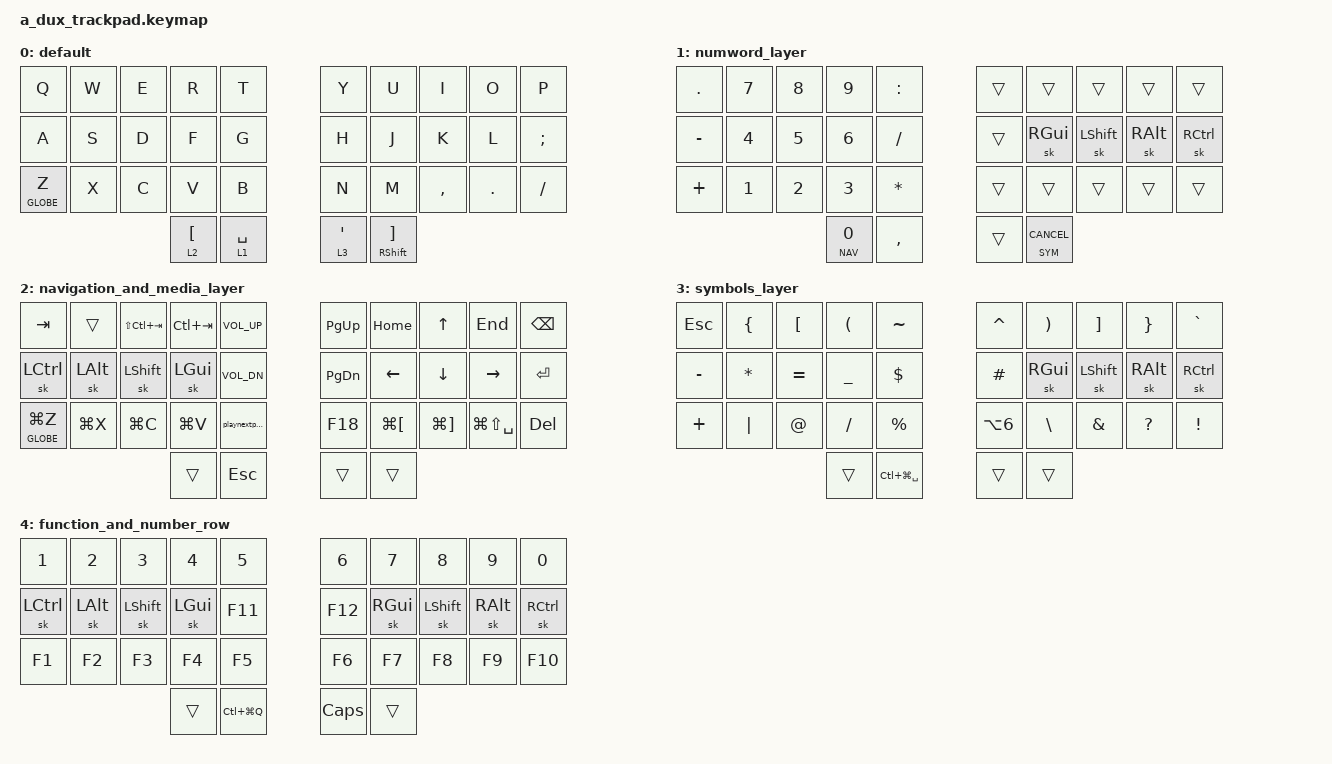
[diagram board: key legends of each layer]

#include <behaviors.dtsi>
#include <dt-bindings/zmk/bt.h>
#include <dt-bindings/zmk/keys.h>
#include <dt-bindings/zmk/mouse.h>
#include <dt-bindings/zmk/outputs.h>

#define DEF 0
#define NWD 1
#define NAV 2
#define SYM 3
#define FUN 4
#define MOU 5
#define AOE 6
#define ASG 7
#define ASB 8

/ {
    /* assign `input-listener` to all pointing devices */
    /* &glidepoint0 on central, &glidepoint1 on peripheral */

    tpad_central_listener {
        compatible = "zmk,input-behavior-listener";
        device = <&glidepoint1>;
        y-invert;
        scale-multiplier = <2>;
        

 

        // xy-swap;
        // x-invert;
    };

    tpad_peripheral_listener {
        compatible = "zmk,input-behavior-listener";
        device = <&glidepoint1>;
        layers = <DEF>;
        y-invert;
        scale-multiplier = <2>;

        /* NOTE: do NOT override event code here, */
        /*       let Cirque glidepoint reports click from taps */
        // evt-type = <INPUT_EV_REL>;
        // x-input-code = <INPUT_REL_X>;
        // y-input-code = <INPUT_REL_Y>;
    };

    tpad_peripheral_scroll {
        compatible = "zmk,input-behavior-listener";
        device = <&glidepoint1>;
        layers = <DEF>;

        /* NOTE: only apply input-code overriding for INPUT_EV_REL */

        evt-type = <INPUT_EV_REL>;
        x-input-code = <INPUT_REL_HWHEEL>;
        y-input-code = <INPUT_REL_WHEEL>;
        bindings = <&ib_wheel_scaler 1 8>;
    };

    ib_wheel_scaler: ib_wheel_scaler {
        compatible = "zmk,input-behavior-scaler";
        #binding-cells = <2>;
        evt-type = <INPUT_EV_REL>;
        input-code = <INPUT_REL_WHEEL>;
    };
};



// Customized caps word to allow for easier canceling and accented characters

&caps_word {
    /delete-property/ ignore-modifiers; // Canceling &caps_word with mods avoids `CMD-SHIFT-S` when I was just trying to type `CMD-S`, since CMD will cancel &caps_word
    continue-list = <UNDERSCORE MINUS SQT CARET TILDE GRAVE K_CANCEL BACKSPACE DELETE LSHFT>; // adding LSHFT is required to use some dead keys for diacriticals in PT-BR  (such as ~, ` and ^). This makes RSHFT a better candidate for my thumb key, as it can cancel &capsword on activation
};

// Emulating Callum's timerless OSM behaviour as close as possible

&sk {
    quick-release; // avoids "THis" problem
    release-after-ms = <600000>; // 1000 ms is default. I've set mine to a bonkers 10 minutes timer in order to emulate Callum's OSM, which is timeless, as close as possible
};

// Hold-taps

&lt { flavor = "hold-preferred"; }; // Using it in NWD and AOE layers
&mt { flavor = "balanced"; }; // Globe/fn and AOE mod-taps for gaming
/ {
    combos {
        compatible = "zmk,combos";

        // Left hand combos for use with the mouse on the right-hand or from AOE layers

        left_hand_esc_combo {
            bindings = <&kp ESCAPE>;
            require-prior-idle-ms = <200>; // Followind urob's formula for my 52 relaxed WPM: 10500/52 wpm ≅ 200 ms
            timeout-ms = <30>;
            layers = <DEF AOE>;
            key-positions = <0 10>;
        };

        left_hand_tab_combo {
            bindings = <&kp TAB>;
            require-prior-idle-ms = <200>;
            timeout-ms = <30>;
            layers = <DEF AOE>;
            key-positions = <1 11>;
        };

        left_hand_backspace_combo {
            bindings = <&kp BSPC>;
            require-prior-idle-ms = <200>;
            timeout-ms = <30>;
            layers = <DEF NAV AOE>;
            key-positions = <2 12>;
        };

        left_hand_enter_combo {
            bindings = <&kp ENTER>;
            require-prior-idle-ms = <200>;
            timeout-ms = <30>;
            layers = <DEF NAV AOE>;
            key-positions = <3 13>;
        };

        left_hand_del_combo {
            bindings = <&kp DEL>;
            require-prior-idle-ms = <200>;
            timeout-ms = <30>;
            layers = <DEF AOE>;
            key-positions = <4 14>;
        };

        // Special layer toggles

        nav_media_mute_combo {
            key-positions = <4 14>;
            layers = <NAV>;
            bindings = <&kp C_MUTE>;
        };

        switch_lang {
            key-positions = <30 31>;
            layers = <DEF NAV>;
            bindings = <&kp LC(SPACE)>;
        };

        enter {
            key-positions = <32 33>;
            layers = <DEF NWD AOE>;
            bindings = <&kp ENTER>;
        };


        // Keyboard adjustments combos (replaces a dedicated SYS layer)

        sys_bootloader {
            key-positions = <20 21>;
            layers = <FUN>;
            bindings = <&bootloader>;
        };

        sys_toggle_bt0_connection {
            key-positions = <3 4>;
            layers = <1>;
            bindings = <&bt BT_SEL 0>;
            timeout-ms = <30>;
            require-prior-idle-ms = <200>;
        };

        sys_toggle_bt1_connection {
            key-positions = <13 14>;
            layers = <1>;
            bindings = <&bt BT_SEL 1>;
            timeout-ms = <30>;
            require-prior-idle-ms = <200>;
        };

        sys_toggle_bt2_connection {
            key-positions = <23 24>;
            layers = <1>;
            bindings = <&bt BT_SEL 2>;
            timeout-ms = <30>;
            require-prior-idle-ms = <200>;
        };

        sys_clear_current_bluetooth_profile {
            key-positions = <28 29>;
            layers = <1>;
            bindings = <&bt BT_CLR>;
            timeout-ms = <30>;
            require-prior-idle-ms = <200>;
        };

        // Anachronic inspired combos to avoid problems SYM keys in quick succession when the corresponding key is pressed quickly before the layer key (https://github.com/theol0403/anachron-zmk-config)
        // I guess this is more of a problem when using mod-taps on thumbs, which is not my case

        anachronic_tilde {
            key-positions = <4 33>;
            layers = <DEF>;
            bindings = <&kp TILDE>;
        };

        anachronic_circumflex {
            key-positions = <5 33>;
            layers = <DEF>;
            bindings = <&kp CARET>;
        };

        anachronic_grave {
            key-positions = <9 33>;
            layers = <DEF>;
            bindings = <&kp GRAVE>;
        };

        anachronic_hyphen {
            key-positions = <10 33>;
            layers = <DEF>;
            bindings = <&kp MINUS>;
        };
    };

    behaviors {
        shft_cw: shift_and_caps_word {
            compatible = "zmk,behavior-tap-dance";
            #binding-cells = <0>;
            tapping-term-ms = <300>;
            bindings = <&kp RSHFT>, <&caps_word>;
        };

        playnextprev: play_next_previous_media {
            compatible = "zmk,behavior-tap-dance";
            #binding-cells = <0>;
            tapping-term-ms = <300>;
            bindings = <&kp C_PLAY_PAUSE>, <&kp C_NEXT>, <&kp C_PREVIOUS>;
        };


    macros {
        lc: mo_layer_switch_with_an_embeded_cancel_tap {
            compatible = "zmk,behavior-macro-one-param";
            wait-ms = <0>;
            tap-ms = <0>;
            #binding-cells = <1>;
            bindings =
                <&macro_tap>,
                <&kp K_CANCEL &macro_param_1to1>,
                <&macro_press>,
                <&mo MACRO_PLACEHOLDER>,
                <&macro_pause_for_release>,
                <&macro_param_1to1>,
                <&macro_release>,
                <&mo MACRO_PLACEHOLDER>;
        };
    };

    conditional_layers {
        compatible = "zmk,conditional-layers";

        tri_layer_for_function_and_number_keys {
            if-layers = <NAV SYM>;
            then-layer = <FUN>;
        };
    };
};
};

 / {
   keymap {
        compatible = "zmk,keymap";

        default {
            bindings = <
&kp Q        &kp W  &kp E  &kp R  &kp T                                         &kp Y                          &kp U  &kp I      &kp O    &kp P
&kp A        &kp S  &kp D  &kp F  &kp G                                         &kp H                          &kp J  &kp K      &kp L    &kp SEMICOLON
&mt GLOBE Z  &kp X  &kp C  &kp V  &kp B                                         &kp N                          &kp M  &kp COMMA  &kp DOT  &kp SLASH
                                  &lt 2 LEFT_BRACKET  &lt 1 SPACE    &lt 3 SQT  &mt RIGHT_SHIFT RIGHT_BRACKET
            >;
        };

        numword_layer {
            bindings = <
&kp DOT    &kp N7  &kp N8  &kp N9  &kp COLON                        &trans            &trans    &trans     &trans    &trans
&kp MINUS  &kp N4  &kp N5  &kp N6  &kp SLASH                        &trans            &sk RGUI  &sk LSHFT  &sk RALT  &sk RCTRL
&kp PLUS   &kp N1  &kp N2  &kp N3  &kp ASTRK                        &trans            &trans    &trans     &trans    &trans
                                   &lt NAV N0  &kp COMMA    &trans  &lt SYM K_CANCEL
            >;
        };

        navigation_and_media_layer {
            bindings = <
&kp TAB          &trans   &kp LS(LC(TAB))  &kp LC(TAB)  &kp C_VOL_UP                      &kp PG_UP  &kp HOME      &kp UP        &kp END            &kp BSPC
&sk LCTRL        &sk LALT   &sk LSHFT        &sk LGUI     &kp C_VOL_DN                      &kp PG_DN  &kp LEFT      &kp DOWN      &kp RIGHT          &kp ENTER
&mt GLOBE LG(Z)  &kp LG(X)  &kp LG(C)        &kp LG(V)    &playnextprev                     &kp F18    &kp LG(LBKT)  &kp LG(RBKT)  &kp LG(LS(SPACE))  &kp DEL
                                                          &trans         &kp ESC    &trans  &trans
            >;
        };

        symbols_layer {
            bindings = <
&kp ESC    &kp LBRC   &kp LBKT   &kp LPAR   &kp TILDE                                    &kp CARET   &kp RPAR  &kp RBKT   &kp RBRC   &kp GRAVE
&kp MINUS  &kp ASTRK  &kp EQUAL  &kp UNDER  &kp DLLR                                     &kp HASH    &sk RGUI  &sk LSHFT  &sk RALT   &sk RCTRL
&kp PLUS   &kp PIPE   &kp AT     &kp FSLH   &kp PRCNT                                    &kp LA(N6)  &kp BSLH  &kp AMPS   &kp QMARK  &kp EXCL
                                            &trans     &kp LC(LG(SPACE))    &trans  &trans
            >;
        };

        function_and_number_row {
            bindings = <
&kp N1     &kp N2    &kp N3     &kp N4    &kp N5                                  &kp N6   &kp N7    &kp N8     &kp N9    &kp N0
&sk LCTRL  &sk LALT  &sk LSHFT  &sk LGUI  &kp F11                                 &kp F12  &sk RGUI  &sk LSHFT  &sk RALT  &sk RCTRL
&kp F1     &kp F2    &kp F3     &kp F4    &kp F5                                  &kp F6   &kp F7    &kp F8     &kp F9    &kp F10
                                          &trans   &kp LC(LG(Q))    &kp CAPSLOCK  &trans
            >;
        };


    };
};
